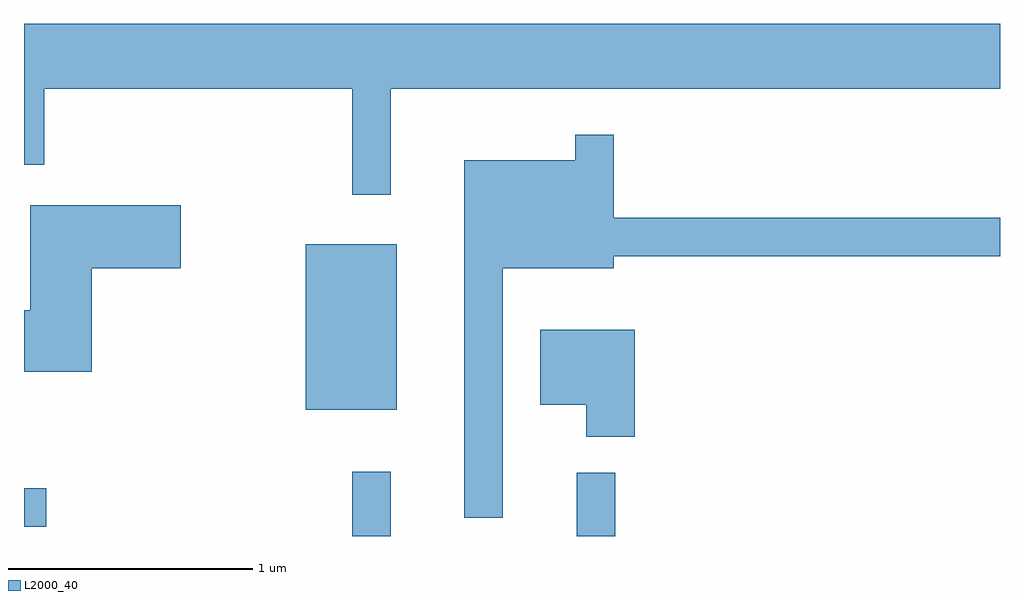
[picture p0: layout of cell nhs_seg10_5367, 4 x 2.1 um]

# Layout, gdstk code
import gdstk
lib = gdstk.Library(unit=1e-6, precision=1e-09)
def R(c, l, rs):  # rectangles x0, y0, x1, y1
    for r in rs: c.add(gdstk.rectangle(r[:2], r[2:], *l))
def P(c, l, *ps):  # polygons
    for p in ps: c.add(gdstk.Polygon(p, *l))
L2000_40 = (2000, 40)

nhs_seg10_5367 = lib.new_cell('nhs_seg10_5367')
R(nhs_seg10_5367, L2000_40, [(344.956,2116.522,345.114,2116.788), (345.876,2116.522,346.034,2116.783), (343.611,2116.561,343.703,2116.719), (344.766,2117.041,345.139,2117.719)])
P(nhs_seg10_5367, L2000_40, [(345.114,2118.356),(347.611,2118.356),(347.611,2118.624),(343.611,2118.624),(343.611,2118.046),(343.694,2118.046),(343.694,2118.356),(344.956,2118.356),(344.956,2117.923),(345.114,2117.923)],
  [(345.574,2117.621),(346.029,2117.621),(346.029,2117.671),(347.611,2117.671),(347.611,2117.829),(346.029,2117.829),(346.029,2118.168),(345.871,2118.168),(345.871,2118.064),(345.416,2118.064),(345.416,2116.598),(345.574,2116.598)],
  [(343.889,2117.621),(344.254,2117.621),(344.254,2117.879),(343.636,2117.879),(343.636,2117.449),(343.611,2117.449),(343.611,2117.196),(343.889,2117.196)],
  [(346.114,2117.369),(345.726,2117.369),(345.726,2117.061),(345.916,2117.061),(345.916,2116.931),(346.114,2116.931)])

lib.write_gds('nhs_seg10_5367.gds')
